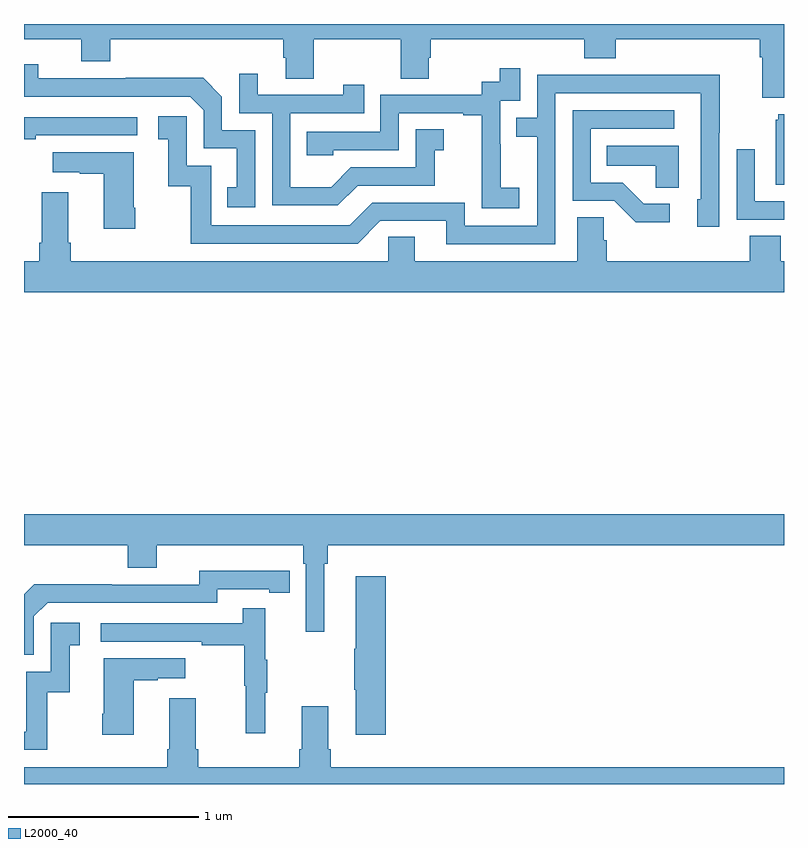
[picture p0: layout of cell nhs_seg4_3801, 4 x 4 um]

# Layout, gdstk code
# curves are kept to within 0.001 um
import gdstk
lib = gdstk.Library(unit=1e-6, precision=1e-09)
def P(c, l, *ps):  # polygons
    for p in ps: c.add(gdstk.Polygon(p, *l))
L2000_40 = (2000, 40)

nhs_seg4_3801 = lib.new_cell('nhs_seg4_3801')
P(nhs_seg4_3801, L2000_40, [(315,796.9),(311,796.9),(311,796.82),(311.3,796.82),(311.3,796.703),(311.453,796.703),(311.453,796.82),(312.365,796.82),(312.365,796.722),(312.377,796.722),(312.377,796.612),(312.525,796.612),(312.525,796.82),(312.982,796.82),(312.982,796.612),(313.129,796.612),(313.129,796.722),(313.142,796.722),(313.142,796.82),(313.949,796.82),(313.949,796.721),(314.114,796.721),(314.114,796.82),(314.873,796.82),(314.873,796.724),(314.885,796.724),(314.885,796.511),(315,796.511)],
  [(312.216,796.341),(312.042,796.341),(312.042,796.518),(311.944,796.616),(311.536,796.616),(311.536,796.614),(311.076,796.614),(311.076,796.687),(311,796.687),(311,796.518),(311.874,796.518),(311.946,796.446),(311.946,796.245),(312.119,796.245),(312.119,796.041),(312.07,796.041),(312.07,795.936),(312.216,795.936)],
  [(313.606,796.039),(313.508,796.039),(313.508,796.268),(313.506,796.268),(313.506,796.497),(313.611,796.497),(313.611,796.666),(313.503,796.666),(313.503,796.596),(313.41,796.596),(313.41,796.527),(312.876,796.527),(312.876,796.332),(312.487,796.332),(312.487,796.209),(312.627,796.209),(312.627,796.236),(312.972,796.236),(312.972,796.431),(313.313,796.431),(313.313,796.419),(313.409,796.419),(313.409,796.135),(313.408,796.135),(313.408,795.929),(313.606,795.929)],
  [(312.757,796.05),(313.161,796.05),(313.161,796.235),(313.21,796.235),(313.21,796.345),(313.062,796.345),(313.062,796.146),(312.72,796.146),(312.616,796.042),(312.402,796.042),(312.402,796.431),(312.791,796.431),(312.791,796.579),(312.68,796.579),(312.68,796.527),(312.229,796.527),(312.229,796.639),(312.132,796.639),(312.132,796.431),(312.306,796.431),(312.306,795.945),(312.652,795.945)],
  [(313.797,796.536),(314.562,796.536),(314.562,795.978),(314.543,795.978),(314.543,795.834),(314.658,795.834),(314.658,796.327),(314.661,796.327),(314.661,796.634),(314.197,796.634),(314.197,796.632),(313.701,796.632),(313.701,796.407),(313.591,796.407),(313.591,796.306),(313.701,796.306),(313.701,795.837),(313.32,795.837),(313.32,795.96),(312.834,795.96),(312.714,795.84),(311.985,795.84),(311.985,796.155),(311.856,796.155),(311.856,796.414),(311.706,796.414),(311.706,796.293),(311.759,796.293),(311.759,796.047),(311.877,796.047),(311.877,795.744),(312.756,795.744),(312.876,795.864),(313.223,795.864),(313.223,795.741),(313.797,795.741)],
  [(314.398,795.954),(314.263,795.954),(314.152,796.065),(313.983,796.065),(313.983,796.35),(314.422,796.35),(314.422,796.446),(313.887,796.446),(313.887,795.969),(314.106,795.969),(314.219,795.857),(314.398,795.857)],
  [(315,796.426),(314.969,796.426),(314.969,796.395),(314.957,796.395),(314.957,796.055),(315,796.055)],
  [(311.063,796.314),(311.596,796.314),(311.596,796.41),(311,796.41),(311,796.294),(311.063,796.294)],
  [(314.446,796.258),(314.068,796.258),(314.068,796.154),(314.325,796.154),(314.325,796.039),(314.446,796.039)],
  [(315,795.966),(314.847,795.966),(314.847,796.24),(314.751,796.24),(314.751,795.87),(315,795.87)],
  [(311.586,795.934),(311.578,795.934),(311.578,796.225),(311.151,796.225),(311.151,796.121),(311.294,796.121),(311.294,796.111),(311.42,796.111),(311.42,795.822),(311.586,795.822)],
  [(315,795.652),(314.984,795.652),(314.984,795.785),(314.819,795.785),(314.819,795.652),(314.066,795.652),(314.066,795.761),(314.052,795.761),(314.052,795.884),(313.913,795.884),(313.913,795.652),(313.057,795.652),(313.057,795.779),(312.918,795.779),(312.918,795.652),(311.246,795.652),(311.246,795.748),(311.233,795.748),(311.233,796.015),(311.093,796.015),(311.093,795.748),(311.081,795.748),(311.081,795.652),(311,795.652),(311,795.488),(315,795.488)],
  [(312.58,794.06),(312.599,794.06),(312.599,794.156),(315,794.156),(315,794.32),(311,794.32),(311,794.156),(311.546,794.156),(311.546,794.039),(311.698,794.039),(311.698,794.156),(312.47,794.156),(312.47,794.06),(312.483,794.06),(312.483,793.701),(312.58,793.701)],
  [(311.052,793.782),(311.124,793.854),(312.018,793.854),(312.018,793.926),(312.29,793.926),(312.29,793.906),(312.398,793.906),(312.398,794.022),(311.922,794.023),(311.922,793.95),(311.462,793.95),(311.462,793.952),(311.054,793.952),(311,793.898),(311,793.581),(311.052,793.581)],
  [(312.905,793.993),(312.746,793.993),(312.746,793.613),(312.739,793.613),(312.739,793.396),(312.746,793.396),(312.746,793.158),(312.905,793.158)],
  [(312.269,793.379),(312.28,793.379),(312.28,793.553),(312.269,793.553),(312.269,793.825),(312.151,793.825),(312.151,793.746),(311.403,793.746),(311.403,793.65),(311.935,793.65),(311.935,793.63),(312.159,793.63),(312.159,793.416),(312.166,793.416),(312.166,793.167),(312.269,793.167)],
  [(311.122,793.383),(311.24,793.383),(311.24,793.629),(311.293,793.629),(311.293,793.75),(311.142,793.75),(311.142,793.491),(311.013,793.491),(311.013,793.176),(311,793.176),(311,793.08),(311.122,793.08)],
  [(311.578,793.447),(311.705,793.447),(311.705,793.457),(311.848,793.457),(311.848,793.561),(311.42,793.561),(311.42,793.27),(311.413,793.27),(311.413,793.158),(311.578,793.158)],
  [(315,792.988),(312.614,792.988),(312.614,793.084),(312.601,793.084),(312.601,793.309),(312.461,793.309),(312.461,793.084),(312.449,793.084),(312.449,792.988),(311.918,792.988),(311.918,793.084),(311.905,793.084),(311.905,793.351),(311.765,793.351),(311.765,793.084),(311.753,793.084),(311.753,792.988),(311,792.988),(311,792.9),(315,792.9)])

lib.write_gds('nhs_seg4_3801.gds')
